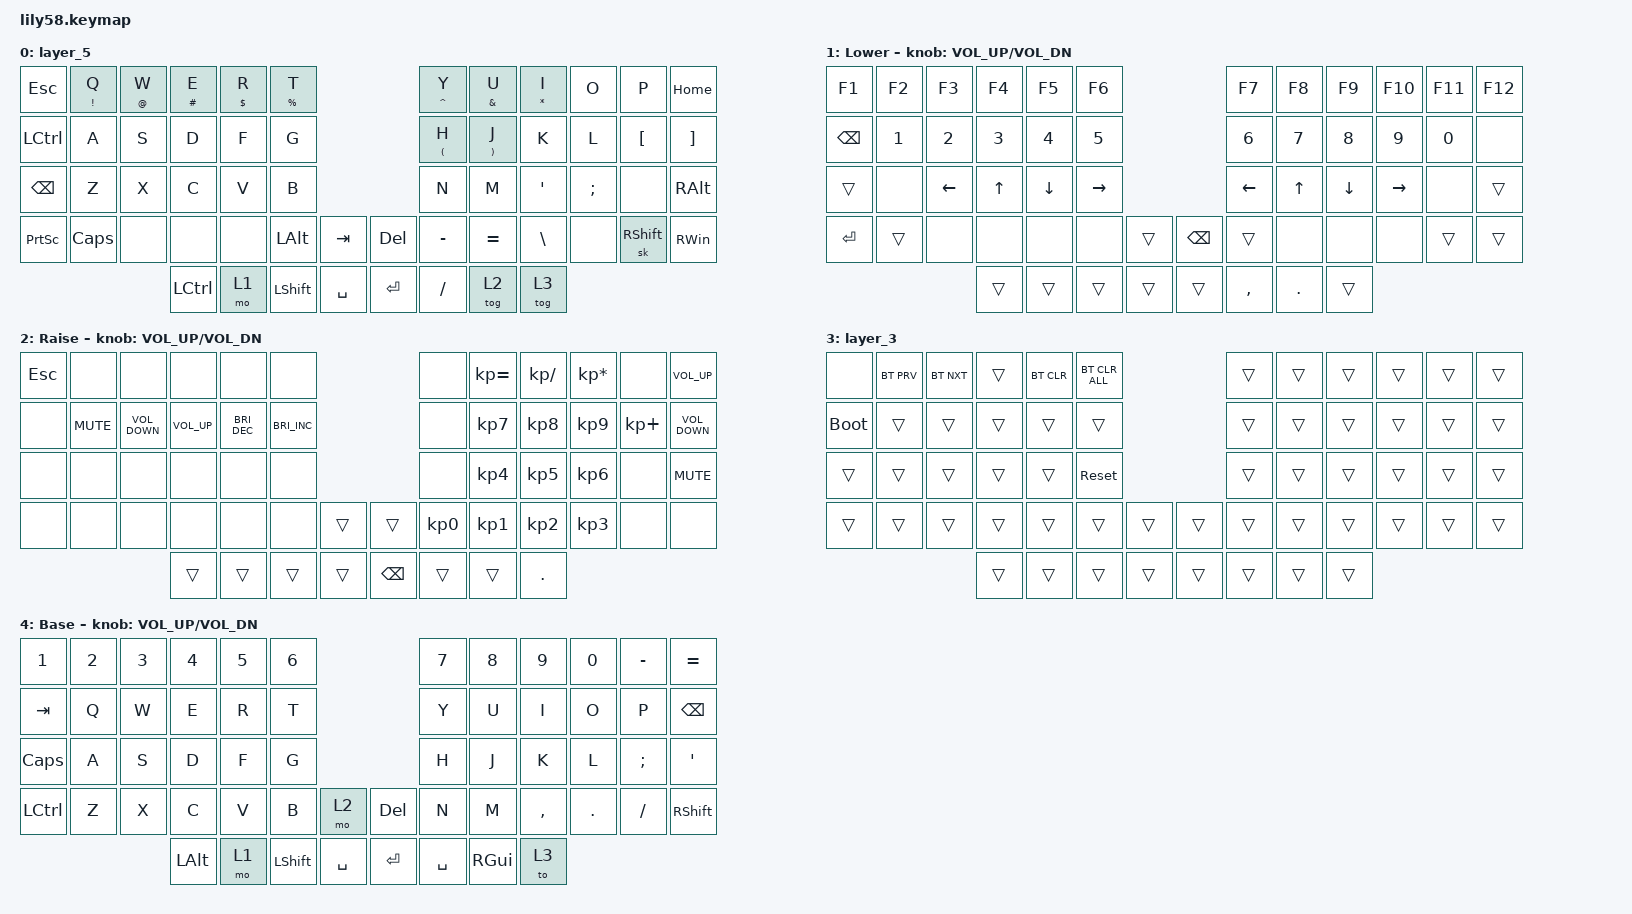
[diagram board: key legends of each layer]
/*
 * Copyright (c) 2020 The ZMK Contributors
 *
 * SPDX-License-Identifier: MIT
 */

#include <behaviors.dtsi>
#include <dt-bindings/zmk/bt.h>
#include <dt-bindings/zmk/keys.h>

/ {
    keymap {
        compatible = "zmk,keymap";

        layer_5 {
            bindings = <
&kp ESC           &mt EXCL Q  &mt AT W  &mt HASH E        &mt DOLLAR R  &mt PERCENT T                        &mt CARET Y             &mt AMPERSAND U          &mt ASTRK I  &kp O     &kp P            &kp HOME
&kp LEFT_CONTROL  &kp A       &kp S     &kp D             &kp F         &kp G                                &mt LEFT_PARENTHESIS H  &mt RIGHT_PARENTHESIS J  &kp K        &kp L     &kp LBKT         &kp RBKT
&kp BACKSPACE     &kp Z       &kp X     &kp C             &kp V         &kp B                                &kp N                   &kp M                    &kp SQT      &kp SEMI  &none            &kp RIGHT_ALT
&kp PRINTSCREEN   &kp CAPS    &none     &none             &none         &kp LEFT_ALT   &kp TAB      &kp DEL  &kp MINUS               &kp EQUAL                &kp BSLH     &none     &sk RIGHT_SHIFT  &kp RIGHT_WIN
                                        &kp LEFT_CONTROL  &mo 1         &kp LSHFT      &kp SPACE    &kp RET  &kp FSLH                &tog 2                   &tog 3
            >;
        };

        lower_layer {
            // ------------------------------------------------------------------------------------------------------------
            // | BTCLR | BT1 | BT2 |  BT3 |  BT4 |  BT5 |                   |      |       |       |      |       |       |
            // |  F1   |  F2 |  F3 |  F4  |  F5  |  F6  |                   |  F7  |  F8   |  F9   |  F10 |  F11  |  F12  |
            // |   `   |  !  |  @  |  #   |  $   |  %   |                   |  ^   |  &    |  *    |  (   |   )   |   ~   |
            // |       |     |     |      |      |      |        |  |       |      |  _    |  +    |  {   |   }   |  "|"  |
            //                     |      |      |      |        |  |       |      |       |       |

            display-name = "Lower";
            bindings = <
&kp F1     &kp F2  &kp F3    &kp F4  &kp F5    &kp F6                         &kp F7     &kp F8   &kp F9    &kp F10    &kp F11  &kp F12
&kp BSPC   &kp N1  &kp N2    &kp N3  &kp N4    &kp N5                         &kp N6     &kp N7   &kp N8    &kp N9     &kp N0   &none
&trans     &none   &kp LEFT  &kp UP  &kp DOWN  &kp RIGHT                      &kp LEFT   &kp UP   &kp DOWN  &kp RIGHT  &none    &trans
&kp ENTER  &trans  &none     &none   &none     &none      &trans    &kp BSPC  &trans     &none    &none     &none      &trans   &trans
                             &trans  &trans    &trans     &trans    &trans    &kp COMMA  &kp DOT  &trans
            >;

            sensor-bindings = <&inc_dec_kp C_VOL_UP C_VOL_DN>;
        };

        raise_layer {
            // ------------------------------------------------------------------------------------------------------------
            // |       |     |     |      |      |      |                   |      |       |       |      |       |       |
            // |   `   |  1  |  2  |  3   |  4   |  5   |                   |  6   |   7   |   8   |  9   |   0   |       |
            // |   F1  |  F2 |  F3 |  F4  |  F5  |  F6  |                   |      |   <-  |   v   |  ^   |  ->   |       |
            // |   F7  |  F8 |  F9 |  F10 |  F11 |  F12 |        |  |       |  +   |   -   |   =   |  [   |   ]   |   \   |
            //                     |      |      |      |        |  |       |      |       |       |

            display-name = "Raise";
            bindings = <
&kp ESC  &none       &none              &none            &none          &none                                     &none      &kp KP_EQUAL     &kp KP_SLASH     &kp KP_ASTERISK  &none        &kp C_VOL_UP
&none    &kp K_MUTE  &kp C_VOLUME_DOWN  &kp C_VOLUME_UP  &kp C_BRI_DEC  &kp C_BRIGHTNESS_INC                      &none      &kp KP_NUMBER_7  &kp KP_NUMBER_8  &kp KP_NUMBER_9  &kp KP_PLUS  &kp C_VOLUME_DOWN
&none    &none       &none              &none            &none          &none                                     &none      &kp KP_NUMBER_4  &kp KP_NUMBER_5  &kp KP_NUMBER_6  &none        &kp K_MUTE
&none    &none       &none              &none            &none          &none                 &trans    &trans    &kp KP_N0  &kp KP_NUMBER_1  &kp KP_NUMBER_2  &kp KP_NUMBER_3  &none        &none
                                        &trans           &trans         &trans                &trans    &kp BSPC  &trans     &trans           &kp PERIOD
            >;

            sensor-bindings = <&inc_dec_kp C_VOL_UP C_VOL_DN>;
        };

        layer_3 {
            bindings = <
&none        &bt BT_PRV  &bt BT_NXT  &trans  &bt BT_CLR  &bt BT_CLR_ALL                    &trans  &trans  &trans  &trans  &trans  &trans
&bootloader  &trans      &trans      &trans  &trans      &trans                            &trans  &trans  &trans  &trans  &trans  &trans
&trans       &trans      &trans      &trans  &trans      &sys_reset                        &trans  &trans  &trans  &trans  &trans  &trans
&trans       &trans      &trans      &trans  &trans      &trans          &trans    &trans  &trans  &trans  &trans  &trans  &trans  &trans
                                     &trans  &trans      &trans          &trans    &trans  &trans  &trans  &trans
            >;
        };

        default_layer {
            // ------------------------------------------------------------------------------------------------------------
            // |  ESC  |  1  |  2  |  3   |  4   |  5   |                   |  6   |  7    |  8    |  9   |   0   |   `   |
            // |  TAB  |  Q  |  W  |  E   |  R   |  T   |                   |  Y   |  U    |  I    |  O   |   P   |   -   |
            // |  CTRL |  A  |  S  |  D   |  F   |  G   |                   |  H   |  J    |  K    |  L   |   ;   |   '   |
            // | SHIFT |  Z  |  X  |  C   |  V   |  B   |   "["  |  |  "]"  |  N   |  M    |  ,    |  .   |   /   | SHIFT |
            //                     | ALT  | GUI  | LOWER|  SPACE |  | ENTER | RAISE| BSPC  | GUI   |

            display-name = "Base";
            bindings = <
&kp NUMBER_1  &kp NUMBER_2  &kp NUMBER_3  &kp NUMBER_4  &kp N5  &kp NUMBER_6                             &kp N7     &kp N8         &kp N9     &kp N0   &kp MINUS  &kp EQUAL
&kp TAB       &kp Q         &kp W         &kp E         &kp R   &kp T                                    &kp Y      &kp U          &kp I      &kp O    &kp P      &kp BSPC
&kp CAPS      &kp A         &kp S         &kp D         &kp F   &kp G                                    &kp H      &kp J          &kp K      &kp L    &kp SEMI   &kp SQT
&kp LCTRL     &kp Z         &kp X         &kp C         &kp V   &kp B           &mo 2        &kp DELETE  &kp N      &kp M          &kp COMMA  &kp DOT  &kp FSLH   &kp RSHFT
                                          &kp LALT      &mo 1   &kp LEFT_SHIFT  &kp SPACE    &kp RET     &kp SPACE  &kp RIGHT_GUI  &to 3
            >;

            sensor-bindings = <&inc_dec_kp C_VOL_UP C_VOL_DN>;
        };
    };
};
